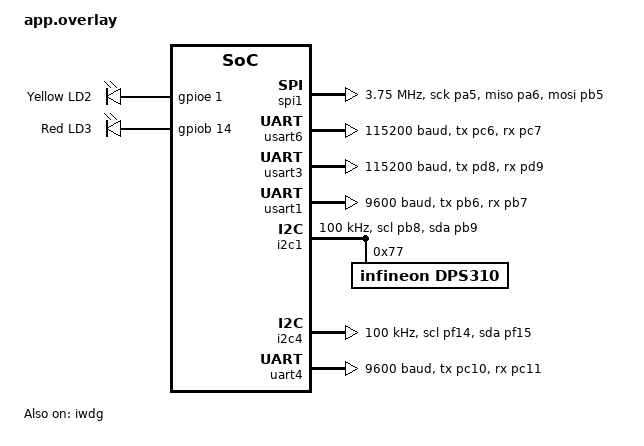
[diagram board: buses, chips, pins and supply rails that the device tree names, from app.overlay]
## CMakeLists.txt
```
# ============================================================
# ZEPHYR PROJECT — CMakeLists.txt (FIXED — ALL 5 SENSORS)
# ============================================================
# Board: NUCLEO-H755ZI-Q
# Project: AI Virtual Sensor (Zephyr + micro-ROS)
# ============================================================

cmake_minimum_required(VERSION 3.20.0)

# ---------- micro-ROS external module ----------
list(APPEND ZEPHYR_EXTRA_MODULES
    ${CMAKE_CURRENT_SOURCE_DIR}/micro_ros_zephyr_module/modules/libmicroros
)

# ---------- Find Zephyr ----------
find_package(Zephyr REQUIRED HINTS $ENV{ZEPHYR_BASE})

# ---------- Project ----------
project(stm32_ai_virtual_sensor
    VERSION 2.0.0
    LANGUAGES C CXX ASM
)

# ============================================================
# C / C++ STANDARDS
# ============================================================
set(CMAKE_C_STANDARD 11)
set(CMAKE_C_STANDARD_REQUIRED ON)
set(CMAKE_C_EXTENSIONS ON)

set(CMAKE_CXX_STANDARD 17)
set(CMAKE_CXX_STANDARD_REQUIRED ON)
set(CMAKE_CXX_EXTENSIONS OFF)

# ============================================================
# INCLUDE DIRECTORIES
# ============================================================
target_include_directories(app PRIVATE
    ${CMAKE_CURRENT_SOURCE_DIR}/src
    ${CMAKE_CURRENT_SOURCE_DIR}/src/config
    ${CMAKE_CURRENT_SOURCE_DIR}/src/hal
    ${CMAKE_CURRENT_SOURCE_DIR}/src/common
    ${CMAKE_CURRENT_SOURCE_DIR}/src/ros
    ${CMAKE_CURRENT_SOURCE_DIR}/src/verified_logic
    ${CMAKE_CURRENT_SOURCE_DIR}/src/verified_logic/ai
    ${CMAKE_CURRENT_SOURCE_DIR}/src/verified_logic/agent
    ${CMAKE_CURRENT_SOURCE_DIR}/src/verified_logic/agent/core
    ${CMAKE_CURRENT_SOURCE_DIR}/src/verified_logic/agent/states
    ${CMAKE_CURRENT_SOURCE_DIR}/src/verified_logic/agent/decisions
    ${CMAKE_CURRENT_SOURCE_DIR}/src/verified_logic/agent/actions
    ${CMAKE_CURRENT_SOURCE_DIR}/src/verified_logic/agent/safety
    ${CMAKE_CURRENT_SOURCE_DIR}/src/verified_logic/agent/health
    ${CMAKE_CURRENT_SOURCE_DIR}/src/verified_logic/agent/fdir
    ${CMAKE_CURRENT_SOURCE_DIR}/src/verified_logic/agent/fallback
    ${CMAKE_CURRENT_SOURCE_DIR}/src/verified_logic/agent/recovery
    ${CMAKE_CURRENT_SOURCE_DIR}/src/verified_logic/agent/confidence
    ${CMAKE_CURRENT_SOURCE_DIR}/src/verified_logic/agent/voting
    ${CMAKE_CURRENT_SOURCE_DIR}/src/verified_logic/agent/crosscheck
    ${CMAKE_CURRENT_SOURCE_DIR}/src/verified_logic/agent/escalation
    ${CMAKE_CURRENT_SOURCE_DIR}/src/verified_logic/agent/wcet
    ${CMAKE_CURRENT_SOURCE_DIR}/src/verified_logic/agent/trace
    ${CMAKE_CURRENT_SOURCE_DIR}/src/verified_logic/agent/interfaces
    ${CMAKE_CURRENT_SOURCE_DIR}/src/verified_logic/apsa_modules
    ${CMAKE_CURRENT_SOURCE_DIR}/src/verified_logic/apsa_bridge
    ${CMAKE_CURRENT_SOURCE_DIR}/src/verified_logic/imu
    ${CMAKE_CURRENT_SOURCE_DIR}/src/verified_logic/cm4_ipc
    ${CMAKE_CURRENT_SOURCE_DIR}/src/verified_logic/cm4_ipc/Inc
    ${CMAKE_CURRENT_SOURCE_DIR}/src/verified_logic/X-CUBE-AI/App
    ${CMAKE_CURRENT_SOURCE_DIR}/src/verified_logic/X-CUBE-AI
    ${CMAKE_CURRENT_SOURCE_DIR}/src/verified_logic/X-CUBE-AI/Middlewares/ST/AI/Inc
    ${CMAKE_CURRENT_SOURCE_DIR}/src/verified_logic/apsa_modules
    ${CMAKE_CURRENT_SOURCE_DIR}/src/verified_logic/apsa_modules/core

    # ✅ ADDED: Sensor Layer
    ${CMAKE_CURRENT_SOURCE_DIR}/src/verified_logic/sensor_layer
    ${CMAKE_CURRENT_SOURCE_DIR}/src/verified_logic/sensor_layer/modules
)

# ============================================================
# APPLICATION SOURCES
# ============================================================
target_sources(app PRIVATE
    src/main.c
    src/config/error_handler.c
    src/hal/hal_time.c
    src/hal/hal_gpio.c
    src/hal/hal_spi.c
    src/hal/hal_uart.c
    src/hal/hal_cache.c
    src/hal/hal_ipc.c
    src/hal/hal_flash.c
    src/hal/hal_reset.c
    src/hal/hal_watchdog.c
    src/hal/hal_dma.c
    src/hal/hal_power.c
    src/hal/hal_clock.c
    src/hal/hal_cpu.c
#    src/common/ring_buffer.c
    src/common/metrics.c
#    src/common/state_machine.c
#    src/common/pipeline.c
    src/common/spsc_queue.c
    src/common/logger.c
    src/common/config_loader.c
    src/ros/micro_ros_app.c
)

# ---------- AI ----------
target_sources(app PRIVATE
    src/verified_logic/ai/ai_icm_virtual.c
    src/verified_logic/X-CUBE-AI/App/ai_wrapper.c
    src/verified_logic/X-CUBE-AI/App/app_x-cube-ai.c
    src/verified_logic/X-CUBE-AI/App/network.c
    src/verified_logic/X-CUBE-AI/App/network_data.c
    src/verified_logic/X-CUBE-AI/App/network_data_params.c
)

# ---------- IMU ----------
target_sources(app PRIVATE
    src/verified_logic/imu/imu_icm42688.c
)

# ---------- IPC ----------
target_sources(app PRIVATE
    src/verified_logic/cm4_ipc/Src/cm4_ipc.c
)

# ---------- Agent Core ----------
target_sources(app PRIVATE
    src/verified_logic/agent/core/agent.c
    src/verified_logic/agent/core/agent_context.c
    src/verified_logic/agent/core/agent_init.c
    src/verified_logic/agent/core/agent_main_hook.c
)

# ---------- Agent States ----------
target_sources(app PRIVATE
    src/verified_logic/agent/states/agent_states.c
    src/verified_logic/agent/states/agent_transitions.c
)

# ---------- Agent Decisions ----------
target_sources(app PRIVATE
    src/verified_logic/agent/decisions/agent_decisions.c
    src/verified_logic/agent/decisions/agent_priority.c
    src/verified_logic/agent/ipc/agent_ipc.c
)

# ---------- Agent Actions ----------
target_sources(app PRIVATE
    src/verified_logic/agent/actions/agent_actions.c
    src/verified_logic/agent/actions/agent_actions_ai.c
)

# ---------- Agent Safety ----------
target_sources(app PRIVATE
    src/verified_logic/agent/safety/agent_safety.c
    src/verified_logic/agent/safety/agent_watchdog.c
)

# ---------- Agent Health ----------
target_sources(app PRIVATE
    src/verified_logic/agent/health/agent_health.c
    src/verified_logic/agent/health/agent_health_per_sensor.c
)

# ---------- Agent FDIR ----------
target_sources(app PRIVATE
#    src/verified_logic/agent/fdir/agent_fdir.c
#    src/verified_logic/agent/fdir/agent_fdir_detector.c
#    src/verified_logic/agent/fdir/agent_fdir_isolator.c
)

# ---------- Agent Fallback ----------
target_sources(app PRIVATE
#    src/verified_logic/agent/fallback/agent_fallback.c
)

# ---------- Agent Recovery ----------
target_sources(app PRIVATE
#    src/verified_logic/agent/recovery/agent_recovery.c
#    src/verified_logic/agent/recovery/agent_recovery_strategy.c
)

# ---------- Agent Confidence ----------
target_sources(app PRIVATE
#    src/verified_logic/agent/confidence/agent_confidence.c
)

# ---------- Agent Voting ----------
target_sources(app PRIVATE
#    src/verified_logic/agent/voting/agent_voting.c
)

# ---------- Agent Crosscheck ----------
target_sources(app PRIVATE
#    src/verified_logic/agent/crosscheck/agent_crosscheck.c
)

# ---------- Agent Escalation ----------
target_sources(app PRIVATE
#    src/verified_logic/agent/escalation/agent_escalation.c
)

# ---------- Agent WCET ----------
target_sources(app PRIVATE
#    src/verified_logic/agent/wcet/agent_wcet.c
)

# ---------- Agent Trace ----------
target_sources(app PRIVATE
    src/verified_logic/agent/trace/agent_trace.c
    src/verified_logic/agent/trace/agent_log.c
    src/verified_logic/agent/trace/agent_stats.c
)

# ---------- APSΛ Bridge ----------
target_sources(app PRIVATE
    src/verified_logic/apsa_bridge/apsa_config.c
    src/verified_logic/apsa_bridge/apsa_ekf_adapter.cpp
    src/verified_logic/apsa_bridge/apsa_ctrl_adapter.cpp
)

# ---------- APSΛ Compile Unit ----------
target_sources(app PRIVATE
    src/verified_logic/apsa_modules/apsa_compile.cpp
)

# ============================================================
# ✅ FIXED: Sensor Layer (SAL — all 5 modules)
# ============================================================
target_sources(app PRIVATE
    src/verified_logic/sensor_layer/sal_core.c
    src/verified_logic/sensor_layer/sal_diag.c
    src/verified_logic/sensor_layer/modules/mod_imu.c
    src/verified_logic/sensor_layer/modules/mod_gps.c
    src/verified_logic/sensor_layer/modules/mod_mag.c
    src/verified_logic/sensor_layer/modules/mod_baro.c
    src/verified_logic/sensor_layer/modules/mod_lora.c
)

# ============================================================
# LINK LIBRARIES
# ============================================================
target_link_libraries(app PRIVATE
    ${CMAKE_CURRENT_SOURCE_DIR}/src/verified_logic/X-CUBE-AI/Middlewares/ST/AI/Lib/NetworkRuntime1020_CM7_GCC.a
)

target_link_libraries(app PRIVATE m)

# ============================================================
# COMPILE DEFINITIONS
# ============================================================
target_compile_definitions(app PRIVATE
    CORE_CM7
    USE_HAL_DRIVER
    STM32H755xx
    USE_PWR_DIRECT_SMPS_SUPPLY
    PROJECT_NAME="stm32_ai_virtual_sensor"
    PROJECT_VERSION_MAJOR=2
    PROJECT_VERSION_MINOR=0
    PROJECT_VERSION_PATCH=0
    __STDC_WANT_LIB_EXT1__=0
)

# ============================================================
# COMPILE OPTIONS
# ============================================================
target_compile_options(app PRIVATE
    -Wall
    -Wextra
    -Wno-unused-parameter
    -Wno-missing-field-initializers
    -fno-common
)

# C++ specific
target_compile_options(app PRIVATE
    $<$<COMPILE_LANGUAGE:CXX>:
        -fno-exceptions
        -fno-rtti
        -fno-use-cxa-atexit
        -fno-threadsafe-statics
    >
)

# ============================================================
# LINKER OPTIONS
# ============================================================
target_link_options(app PRIVATE
    -Wl,--allow-multiple-definition
    -Wl,--gc-sections
    -Wl,-Map=${CMAKE_BINARY_DIR}/stm32_ai_virtual_sensor.map
)

# ============================================================
# Additional STM32 HAL sources
# ============================================================
target_sources(app PRIVATE
    ${ZEPHYR_BASE}/../modules/hal/stm32/stm32cube/stm32h7xx/drivers/src/stm32h7xx_hal_pwr_ex.c
)
```

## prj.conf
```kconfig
# ============================================================
# ZEPHYR PROJECT CONFIGURATION — SAFETY-CRITICAL
# ============================================================
# Board: NUCLEO-H755ZI-Q
# Console: USART3 (PD8/PD9) @ 115200 via ST-LINK VCP
# micro-ROS: USART6 (PC6/PC7) @ 115200 via FTDI
# ============================================================

# SYSTEM
CONFIG_MAIN_STACK_SIZE=16384
CONFIG_SYSTEM_WORKQUEUE_STACK_SIZE=4096
CONFIG_ISR_STACK_SIZE=4096
CONFIG_THREAD_STACK_INFO=y
CONFIG_THREAD_NAME=y
CONFIG_THREAD_RUNTIME_STATS=y
CONFIG_THREAD_MONITOR=y
CONFIG_INIT_STACKS=y

# SCHEDULER
CONFIG_NUM_PREEMPT_PRIORITIES=16
CONFIG_NUM_COOP_PRIORITIES=0
CONFIG_TIMESLICING=y
CONFIG_TIMESLICE_SIZE=10

# CLOCK
CONFIG_SYS_CLOCK_TICKS_PER_SEC=1000
CONFIG_CORTEX_M_SYSTICK=y
CONFIG_SYS_CLOCK_EXISTS=y

# MEMORY
CONFIG_HEAP_MEM_POOL_SIZE=65536
CONFIG_MAIN_THREAD_PRIORITY=3

# FPU
CONFIG_FPU=y
CONFIG_FPU_SHARING=y

# C++
CONFIG_CPP=y
CONFIG_STD_CPP17=y
CONFIG_REQUIRES_FULL_LIBCPP=y
CONFIG_CPP_EXCEPTIONS=n
CONFIG_CPP_RTTI=n
CONFIG_NEWLIB_LIBC=y
CONFIG_NEWLIB_LIBC_NANO=n

# CACHE
CONFIG_CACHE_MANAGEMENT=y
CONFIG_ICACHE=y
CONFIG_DCACHE=y

# LOGGING — IMMEDIATE, synchronous
CONFIG_PRINTK=y
CONFIG_LOG=y
CONFIG_LOG_MODE_DEFERRED=n
CONFIG_LOG_MODE_IMMEDIATE=y
CONFIG_LOG_DEFAULT_LEVEL=3
CONFIG_LOG_MAX_LEVEL=4
CONFIG_LOG_BACKEND_UART=y
CONFIG_UART_CONSOLE=y
CONFIG_STDOUT_CONSOLE=y
CONFIG_CONSOLE=y
CONFIG_EARLY_CONSOLE=y

# ASSERT + SAFETY
CONFIG_ASSERT=y
CONFIG_HW_STACK_PROTECTION=y
CONFIG_MPU_STACK_GUARD=y

# WATCHDOG
CONFIG_WATCHDOG=y
CONFIG_WDT_DISABLE_AT_BOOT=y

# FLASH
CONFIG_FLASH=y
CONFIG_FLASH_MAP=y
CONFIG_FLASH_PAGE_LAYOUT=y
CONFIG_NVS=y

# GPIO
CONFIG_GPIO=y
CONFIG_GPIO_INIT_PRIORITY=40

# SPI
CONFIG_SPI=y
CONFIG_SPI_INIT_PRIORITY=70

# I2C (BARO + MAG এর জন্য আবশ্যক)
CONFIG_I2C=y

# SENSOR (DPS310 ড্রাইভারের জন্য)
CONFIG_SENSOR=y
CONFIG_DPS310=y

# UART
CONFIG_SERIAL=y
CONFIG_UART_INTERRUPT_DRIVEN=y
CONFIG_RING_BUFFER=y

# RTC
CONFIG_RTC=y

# MULTITHREADING
CONFIG_MULTITHREADING=y

# POSIX
CONFIG_POSIX_API=y
CONFIG_POSIX_THREADS=y
CONFIG_POSIX_SEMAPHORES=y

# OPTIMIZATION
CONFIG_SIZE_OPTIMIZATIONS=n
CONFIG_SPEED_OPTIMIZATIONS=y
CONFIG_NO_OPTIMIZATIONS=n

# NETWORKING
CONFIG_NETWORKING=n

# ============================================================
# micro-ROS — 40k+ লাইনেও স্কেলযোগ্য
# ============================================================
CONFIG_MICROROS=y
CONFIG_MICROROS_NODES="2"
CONFIG_MICROROS_PUBLISHERS="20"
CONFIG_MICROROS_SUBSCRIBERS="10"
CONFIG_MICROROS_CLIENTS="2"
CONFIG_MICROROS_SERVERS="2"
CONFIG_MICROROS_RMW_HISTORIC="8"
CONFIG_MICROROS_XRCE_DDS_HISTORIC="4"
CONFIG_MICROROS_XRCE_DDS_MTU="512"
```

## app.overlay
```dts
/* ============================================================
 * NUCLEO-H755ZI-Q — Zephyr Devicetree Overlay
 * ============================================================
 *   - SPI1 (PA5/PA6/PB5) — IMU (ICM-42688-P) CS=PD14
 *   - USART6 (PC6/PC7)   — micro-ROS @ 115200 (FTDI)
 *   - USART3 (PD8/PD9)   — Console/log/shell @ 115200 (ST-LINK VCP)
 *   - USART1 (PB6/PB7)   — GPS @ 9600
 *   - I2C1  (PB8/PB9)    — BARO (DPS310)
 *   - I2C4  (PF14/PF15)  — MAG (QMC5883P)
 *   - UART4 (PC10/PC11)  — LoRa @ 9600
 *   - IWDG               — Watchdog
 *
 * NOTE: log backend uses zephyr,console (usart3) by default.
 *       No zephyr,log-uart node → no custom binding → log goes
 *       to usart3 only. usart6 is exclusively micro-ROS.
 * ============================================================ */

/ {
    chosen {
        zephyr,console    = &usart3;
        zephyr,shell-uart = &usart3;
    };

    aliases {
        uart-telemetry = &usart3;
        uart-ros       = &usart6;
        uart-console   = &usart3;
        uart-gps       = &usart1;
        uart-lora      = &uart4;
        i2c-baro       = &i2c1;
        i2c-compass    = &i2c4;
        spi-imu        = &spi1;
        watchdog0      = &iwdg;

        led1 = &user_yellow_led;
        led2 = &user_red_led;
    };

    leds {
        compatible = "gpio-leds";

        user_yellow_led: led_user_1 {
            gpios = <&gpioe 1 GPIO_ACTIVE_HIGH>;
            label = "Yellow LD2";
        };
        user_red_led: led_user_2 {
            gpios = <&gpiob 14 GPIO_ACTIVE_HIGH>;
            label = "Red LD3";
        };
    };
};

/* ============================================================
 * PINCTRL
 * ============================================================ */
&pinctrl {
    spi1_sck_pa5: spi1_sck_pa5 {
        pinmux = <STM32_PINMUX('A', 5, AF5)>;
        bias-pull-down;
        slew-rate = "very-high-speed";
    };

    spi1_miso_pa6: spi1_miso_pa6 {
        pinmux = <STM32_PINMUX('A', 6, AF5)>;
        bias-pull-up;
        slew-rate = "very-high-speed";
    };

    spi1_mosi_pb5: spi1_mosi_pb5 {
        pinmux = <STM32_PINMUX('B', 5, AF5)>;
        bias-pull-down;
        slew-rate = "very-high-speed";
    };

    usart6_tx_pc6: usart6_tx_pc6 {
        pinmux = <STM32_PINMUX('C', 6, AF7)>;
        bias-pull-up;
    };

    usart6_rx_pc7: usart6_rx_pc7 {
        pinmux = <STM32_PINMUX('C', 7, AF7)>;
        bias-pull-up;
    };

    usart3_tx_pd8: usart3_tx_pd8 {
        pinmux = <STM32_PINMUX('D', 8, AF7)>;
        bias-pull-up;
    };

    usart3_rx_pd9: usart3_rx_pd9 {
        pinmux = <STM32_PINMUX('D', 9, AF7)>;
        bias-pull-up;
    };

    usart1_tx_pb6: usart1_tx_pb6 {
        pinmux = <STM32_PINMUX('B', 6, AF7)>;
        bias-pull-up;
    };
    usart1_rx_pb7: usart1_rx_pb7 {
        pinmux = <STM32_PINMUX('B', 7, AF7)>;
        bias-pull-up;
    };

    i2c1_scl_pb8: i2c1_scl_pb8 {
        pinmux = <STM32_PINMUX('B', 8, AF4)>;
        bias-pull-up;
        drive-open-drain;
    };
    i2c1_sda_pb9: i2c1_sda_pb9 {
        pinmux = <STM32_PINMUX('B', 9, AF4)>;
        bias-pull-up;
        drive-open-drain;
    };

    i2c4_scl_pf14: i2c4_scl_pf14 {
        pinmux = <STM32_PINMUX('F', 14, AF4)>;
        bias-pull-up;
        drive-open-drain;
    };
    i2c4_sda_pf15: i2c4_sda_pf15 {
        pinmux = <STM32_PINMUX('F', 15, AF4)>;
        bias-pull-up;
        drive-open-drain;
    };

    uart4_tx_pc10: uart4_tx_pc10 {
        pinmux = <STM32_PINMUX('C', 10, AF8)>;
        bias-pull-up;
    };
    uart4_rx_pc11: uart4_rx_pc11 {
        pinmux = <STM32_PINMUX('C', 11, AF8)>;
        bias-pull-up;
    };
};

/* ============================================================
 * SPI1 — IMU (ICM-42688-P)
 * ============================================================ */
&spi1 {
    status = "okay";
    pinctrl-0 = <&spi1_sck_pa5 &spi1_miso_pa6 &spi1_mosi_pb5>;
    pinctrl-names = "default";
    cs-gpios = <&gpiod 14 GPIO_ACTIVE_LOW>;
    clock-frequency = <3750000>;
};

/* ============================================================
 * USART6 — micro-ROS @ 115200 (PC6/PC7, FTDI)
 * ============================================================ */
&usart6 {
    status = "okay";
    pinctrl-0 = <&usart6_tx_pc6 &usart6_rx_pc7>;
    pinctrl-names = "default";
    current-speed = <115200>;
};

/* ============================================================
 * USART3 — Console/log/shell @ 115200 (PD8/PD9, ST-LINK VCP)
 * ============================================================ */
&usart3 {
    status = "okay";
    pinctrl-0 = <&usart3_tx_pd8 &usart3_rx_pd9>;
    pinctrl-names = "default";
    current-speed = <115200>;
};

/* ============================================================
 * USART1 — GPS @ 9600 (PB6/PB7)
 * ============================================================ */
&usart1 {
    status = "okay";
    pinctrl-0 = <&usart1_tx_pb6 &usart1_rx_pb7>;
    pinctrl-names = "default";
    current-speed = <9600>;
};

/* ============================================================
 * I2C1 — BARO @ 100 kHz (PB8/PB9)
 * ============================================================ */
&i2c1 {
    status = "okay";
    pinctrl-0 = <&i2c1_scl_pb8 &i2c1_sda_pb9>;
    pinctrl-names = "default";
    clock-frequency = <I2C_BITRATE_STANDARD>;
    scl-gpios = <&gpiob 8 (GPIO_OPEN_DRAIN | GPIO_PULL_UP)>;
    sda-gpios = <&gpiob 9 (GPIO_OPEN_DRAIN | GPIO_PULL_UP)>;

    dps310: dps310@77 {
        compatible = "infineon,dps310";
        reg = <0x77>;
        status = "okay";
    };
};

/* ============================================================
 * I2C4 — MAG @ 100 kHz (PF14/PF15)
 * ============================================================ */
&i2c4 {
    status = "okay";
    pinctrl-0 = <&i2c4_scl_pf14 &i2c4_sda_pf15>;
    pinctrl-names = "default";
    clock-frequency = <I2C_BITRATE_STANDARD>;
};

/* ============================================================
 * UART4 — LoRa @ 9600 (PC10/PC11)
 * ============================================================ */
&uart4 {
    status = "okay";
    pinctrl-0 = <&uart4_tx_pc10 &uart4_rx_pc11>;
    pinctrl-names = "default";
    current-speed = <9600>;
};

/* ============================================================
 * IWDG — Watchdog
 * ============================================================ */
&iwdg {
    status = "okay";
};
```

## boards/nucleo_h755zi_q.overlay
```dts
/* ============================================================
 * NUCLEO-H755ZI-Q — Devicetree Overlay
 * ============================================================
 * Purpose:
 *   - Pin mux for SPI1 (IMU), USART3 (Telemetry), USART2 (ROS)
 *   - Fixed partitions for config, logs, calibration
 *   - Watchdog alias
 *   - LED aliases
 *   - DMA channels
 *
 * Note: Base SoC dts already defines these peripherals; here we
 *       only add board-specific pinctrl and aliases.
 * ============================================================ */

/ {
    aliases {
        /* UART */
        uart-telemetry = &usart3;
        uart-ros       = &usart2;

        /* SPI */
        spi-imu        = &spi1;

        /* Watchdog */
        watchdog0      = &iwdg;

        /* LEDs (Nucleo-H755ZI-Q) */
        led-status     = &green_led;
        led-error      = &red_led;

        /* DMA */
        dma-1          = &dma1;
    };

    /* ---------- LEDs ---------- */
    leds {
        compatible = "gpio-leds";

        green_led: led_0 {
            gpios = <&gpiob 0 GPIO_ACTIVE_HIGH>;
            label = "Green LED";
        };

        yellow_led: led_1 {
            gpios = <&gpioe 1 GPIO_ACTIVE_HIGH>;
            label = "Yellow LED";
        };

        red_led: led_2 {
            gpios = <&gpiob 14 GPIO_ACTIVE_HIGH>;
            label = "Red LED";
        };
    };

    /* ---------- IMU CS Pin ---------- */
    imu_cs: imu-cs {
        compatible = "gpio-leds";
        gpios = <&gpiod 14 GPIO_ACTIVE_LOW>;
        label = "IMU Chip Select";
    };
};

/* ============================================================
 * SPI1 — IMU (ICM-42688-P)
 * ============================================================
 * Pins:
 *   PA5 = SPI1_SCK
 *   PA6 = SPI1_MISO
 *   PB5 = SPI1_MOSI
 *   PD14 = CS (software-controlled)
 * ============================================================ */
&spi1 {
    status = "okay";
    pinctrl-0 = <&spi1_sck_pa5 &spi1_miso_pa6 &spi1_mosi_pb5>;
    pinctrl-names = "default";
    cs-gpios = <&gpiod 14 GPIO_ACTIVE_LOW>;

    clock-frequency = <3750000>;   /* 3.75 MHz */
};

&pinctrl {
    spi1_sck_pa5: spi1_sck_pa5 {
        pinmux = <STM32_PINMUX('A', 5, AF5)>;
        bias-pull-down;
        slew-rate = "very-high-speed";
    };

    spi1_miso_pa6: spi1_miso_pa6 {
        pinmux = <STM32_PINMUX('A', 6, AF5)>;
        bias-pull-down;
        slew-rate = "very-high-speed";
    };

    spi1_mosi_pb5: spi1_mosi_pb5 {
        pinmux = <STM32_PINMUX('B', 5, AF5)>;
        bias-pull-down;
        slew-rate = "very-high-speed";
    };
};

/* ============================================================
 * USART3 — Telemetry (921600 baud)
 * ============================================================
 * Pins:
 *   PD8 = USART3_TX
 *   PD9 = USART3_RX
 * ============================================================ */
&usart3 {
    status = "okay";
    current-speed = <921600>;
    pinctrl-0 = <&usart3_tx_pd8 &usart3_rx_pd9>;
    pinctrl-names = "default";
};

&pinctrl {
    usart3_tx_pd8: usart3_tx_pd8 {
        pinmux = <STM32_PINMUX('D', 8, AF7)>;
        bias-pull-up;
    };

    usart3_rx_pd9: usart3_rx_pd9 {
        pinmux = <STM32_PINMUX('D', 9, AF7)>;
        bias-pull-up;
    };
};

/* ============================================================
 * USART2 — micro-ROS Agent (115200 baud)
 * ============================================================
 * Pins:
 *   PA2 = USART2_TX
 *   PA3 = USART2_RX
 *
 * Note: NUCLEO-H755ZI-Q exposes USART2 on ST-Link VCP.
 * ============================================================ */
&usart2 {
    status = "okay";
    current-speed = <115200>;
    pinctrl-0 = <&usart2_tx_pa2 &usart2_rx_pa3>;
    pinctrl-names = "default";
};

&pinctrl {
    usart2_tx_pa2: usart2_tx_pa2 {
        pinmux = <STM32_PINMUX('A', 2, AF7)>;
        bias-pull-up;
    };

    usart2_rx_pa3: usart2_rx_pa3 {
        pinmux = <STM32_PINMUX('A', 3, AF7)>;
        bias-pull-up;
    };
};

/* ============================================================
 * DMA1 — for SPI1 and USART3
 * ============================================================ */
&dma1 {
    status = "okay";
};

/* ============================================================
 * IWDG — Independent Watchdog
 * ============================================================ */
&iwdg {
    status = "okay";
};

/* ============================================================
 * Fixed Partitions — Flash Layout
 * ============================================================
 * STM32H755ZI-Q Flash: 2 MB (0x08000000 – 0x081FFFFF)
 *
 * Layout (2 MB split):
 *   0x08000000 - 0x080FFFFF : MCU firmware (1 MB)
 *   0x08100000 - 0x0811FFFF : config storage (128 KB)
 *   0x08120000 - 0x0813FFFF : logs storage (128 KB)
 *   0x08140000 - 0x0815FFFF : calib storage (128 KB)
 * ============================================================ */
&flash0 {
    partitions {
        compatible = "fixed-partitions";
        #address-cells = <1>;
        #size-cells = <1>;

        /* Firmware — reserved by linker; not touched here */
        boot_partition: partition@0 {
            label = "mcuboot";
            reg = <0x00000000 DT_SIZE_K(1024)>;
            read-only;
        };

        /* Config storage (128 KB) */
        config_storage: partition@100000 {
            label = "config_storage";
            reg = <0x00100000 DT_SIZE_K(128)>;
        };

        /* Logs storage (128 KB) */
        logs_storage: partition@120000 {
            label = "logs_storage";
            reg = <0x00120000 DT_SIZE_K(128)>;
        };

        /* Calibration storage (128 KB) */
        calib_storage: partition@140000 {
            label = "calib_storage";
            reg = <0x00140000 DT_SIZE_K(128)>;
        };
    };
};

/* ============================================================
 * CM4 Core — Enable for dual-core operation
 * ============================================================ */
&m4 {
    status = "okay";
};

/* ============================================================
 * HSEM — Hardware Semaphores for CM7 ↔ CM4
 * ============================================================ */
&hsem {
    status = "okay";
};

/* ============================================================
 * RTC / Backup RAM — Retention section
 * ============================================================ */
&rtc {
    status = "okay";
};
```

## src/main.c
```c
/* ============================================================
 * MAIN — ZEPHYR APPLICATION ENTRY
 * ============================================================ */

#include <zephyr/kernel.h>
#include <zephyr/device.h>
#include <zephyr/drivers/uart.h>
#include <zephyr/drivers/gpio.h>
#include <zephyr/sys/printk.h>
#include <zephyr/fatal.h>

#include <math.h>
#include <string.h>

#include <stm32_ll_spi.h>
#include <stm32_ll_rcc.h>
#include <stm32_ll_gpio.h>

#include "config/project_config.h"
#include "config/system_types.h"
#include "config/validation.h"
#include "config/error_handler.h"
#include "hal/hal_time.h"
#include "hal/hal_gpio.h"
#include "hal/hal_spi.h"
#include "hal/hal_uart.h"
#include "hal/hal_cache.h"
#include "hal/hal_ipc.h"
#include "hal/hal_flash.h"
#include "hal/hal_reset.h"
#include "hal/hal_watchdog.h"
#include "hal/hal_dma.h"
#include "hal/hal_power.h"
#include "hal/hal_clock.h"
#include "hal/hal_cpu.h"
#include "common/logger.h"
#include "common/metrics.h"
#include "common/config_loader.h"
#include "common/spsc_queue.h"
#include "ai_icm_virtual.h"
#include "imu_icm42688.h"
#include "cm4_ipc.h"
#include "agent_main_hook.h"
#include "agent.h"
#include "agent_context.h"
#include "agent_ai_if.h"
#include "agent_ekf_if.h"
#include "agent_control_if.h"
#include "ros/micro_ros_app.h"
#include "verified_logic/sensor_layer/sal_core.h"
#include "verified_logic/sensor_layer/sal_types.h"

#include "verified_logic/X-CUBE-AI/App/ai_wrapper.h"

static K_THREAD_STACK_DEFINE(sensor_stack, 4096);
static K_THREAD_STACK_DEFINE(agent_stack,  32768);
static K_THREAD_STACK_DEFINE(ros_stack,    16384);
static K_THREAD_STACK_DEFINE(health_stack, 8192);
static K_THREAD_STACK_DEFINE(lora_init_stack, 4096);

static struct k_thread sensor_tcb;
static struct k_thread agent_tcb;
static struct k_thread ros_tcb;
static struct k_thread health_tcb;
static struct k_thread lora_init_tcb;

#define SENSOR_QUEUE_SIZE           16U
#define SENSOR_LOG_INTERVAL_MS      2000U
#define ROS_PUBLISH_INTERVAL_MS     50U

static void             *sensor_queue_storage[SENSOR_QUEUE_SIZE];
static spsc_queue_t      sensor_queue;
static imu_sample_t      g_latest_sample;
static volatile bool     g_latest_sample_valid = false;

static volatile int         g_lora_rc     = -999;
static volatile bool        g_lora_ready  = false;
static volatile bool        g_spi_ok      = true;

/* ---------- Complementary filter state ---------- */
static volatile float g_qw = 1.0f;
static volatile float g_qx = 0.0f;
static volatile float g_qy = 0.0f;
static volatile float g_qz = 0.0f;

static void complementary_filter_update(int16_t ax_raw, int16_t ay_raw, int16_t az_raw,
                                        int16_t gx_raw, int16_t gy_raw, int16_t gz_raw,
                                        float mag_x, float mag_y, float mag_z,
                                        float dt)
{
    const float dps_to_rads = 0.0174532925f;
    const float mg_to_ms2 = 0.004788403f;

    float wx = (float)gx_raw * dps_to_rads;
    float wy = (float)gy_raw * dps_to_rads;
    float wz = (float)gz_raw * dps_to_rads;

    float ax = (float)ax_raw * mg_to_ms2;
    float ay = (float)ay_raw * mg_to_ms2;
    float az = (float)az_raw * mg_to_ms2;

    float qw = g_qw, qx = g_qx, qy = g_qy, qz = g_qz;

    float half_dt = 0.5f * dt;
    float dqx = wx * half_dt;
    float dqy = wy * half_dt;
    float dqz = wz * half_dt;
    float dqw = 1.0f;

    float n = sqrtf(dqw*dqw + dqx*dqx + dqy*dqy + dqz*dqz);
    if (n > 1e-9f) {
        dqw /= n; dqx /= n; dqy /= n; dqz /= n;

        float new_qw = qw*dqw - qx*dqx - qy*dqy - qz*dqz;
        float new_qx = qw*dqx + qx*dqw + qy*dqz - qz*dqy;
        float new_qy = qw*dqy - qx*dqz + qy*dqw + qz*dqx;
        float new_qz = qw*dqz + qx*dqy - qy*dqx + qz*dqw;

        n = sqrtf(new_qw*new_qw + new_qx*new_qx + new_qy*new_qy + new_qz*new_qz);
        if (n > 1e-9f) {
            qw = new_qw / n; qx = new_qx / n; qy = new_qy / n; qz = new_qz / n;
        }
    }

    float ax_norm = sqrtf(ax*ax + ay*ay + az*az);
    if (ax_norm > 0.5f && ax_norm < 15.0f) {
        float r20 = 2.0f * (qx*qz - qw*qy);
        float r21 = 2.0f * (qy*qz + qw*qx);
        float r22 = 1.0f - 2.0f * (qx*qx + qy*qy);

        const float g = 9.80665f;
        float gx_est = -r20 * g;
        float gy_est = -r21 * g;
        float gz_est = -r22 * g;

        float ex = (ay * gz_est - az * gy_est);
        float ey = (az * gx_est - ax * gz_est);
        float ez = (ax * gy_est - ay * gx_est);

        float exn = sqrtf(ex*ex + ey*ey + ez*ez);
        if (exn > 1e-6f) {
            float gain = 0.02f;
            float dq_x = ex * gain * 0.5f;
            float dq_y = ey * gain * 0.5f;
            float dq_z = ez * gain * 0.5f;
            float dq_w = 1.0f;

            float dn = sqrtf(dq_w*dq_w + dq_x*dq_x + dq_y*dq_y + dq_z*dq_z);
            if (dn > 1e-9f) {
                dq_w /= dn; dq_x /= dn; dq_y /= dn; dq_z /= dn;

                float nqw = qw*dq_w - qx*dq_x - qy*dq_y - qz*dq_z;
                float nqx = qw*dq_x + qx*dq_w + qy*dq_z - qz*dq_y;
                float nqy = qw*dq_y - qx*dq_z + qy*dq_w + qz*dq_x;
                float nqz = qw*dq_z + qx*dq_y - qy*dq_x + qz*dq_w;

                n = sqrtf(nqw*nqw + nqx*nqx + nqy*nqy + nqz*nqz);
                if (n > 1e-9f) {
                    qw = nqw / n; qx = nqx / n; qy = nqy / n; qz = nqz / n;
                }
            }
        }
    }

    float mag_norm = sqrtf(mag_x*mag_x + mag_y*mag_y + mag_z*mag_z);
    if (mag_norm > 1.0f && mag_norm < 1000.0f) {
        float r00 = 1.0f - 2.0f * (qy*qy + qz*qz);
        float r01 = 2.0f * (qx*qy - qw*qz);
        float r02 = 2.0f * (qx*qz + qw*qy);
        float r10 = 2.0f * (qx*qy + qw*qz);
        float r11 = 1.0f - 2.0f * (qx*qx + qz*qz);
        float r12 = 2.0f * (qy*qz - qw*qx);

        float mx_w = r00 * mag_x + r01 * mag_y + r02 * mag_z;
        float my_w = r10 * mag_x + r11 * mag_y + r12 * mag_z;

        float heading_meas = atan2f(my_w, mx_w);
        float heading_q = atan2f(2.0f * (qw*qz + qx*qy),
                                 1.0f - 2.0f * (qy*qy + qz*qz));

        float yaw_err = heading_meas - heading_q;
        while (yaw_err > 3.14159f) yaw_err -= 6.28318f;
        while (yaw_err < -3.14159f) yaw_err += 6.28318f;

        float gain_yaw = 0.02f;
        float dq_z = yaw_err * gain_yaw * 0.5f;
        float dq_w = 1.0f;

        float dn = sqrtf(dq_w*dq_w + dq_z*dq_z);
        if (dn > 1e-9f) {
            dq_w /= dn; dq_z /= dn;

            float nqw = qw*dq_w - qz*dq_z;
            float nqx = qx*dq_w + qy*dq_z;
            float nqy = qy*dq_w - qx*dq_z;
            float nqz = qz*dq_w + qw*dq_z;

            n = sqrtf(nqw*nqw + nqx*nqx + nqy*nqy + nqz*nqz);
            if (n > 1e-9f) {
                qw = nqw / n; qx = nqx / n; qy = nqy / n; qz = nqz / n;
            }
        }
    }

    g_qw = qw; g_qx = qx; g_qy = qy; g_qz = qz;
}

void get_quaternion(float *w, float *x, float *y, float *z) {
    *w = g_qw; *x = g_qx; *y = g_qy; *z = g_qz;
}

/* ---------- SPI self-test ---------- */
static K_THREAD_STACK_DEFINE(st_stack, 2048);
static struct k_thread st_tcb;
static K_SEM_DEFINE(st_done, 0, 1);
static volatile char     g_st_test = '-';
static volatile uint32_t g_st_len  = 0U;
static volatile uint32_t g_st_iter = 0U;
static volatile int      g_st_fail = 0;

static void st_entry(void *p1, void *p2, void *p3) {
    uint8_t buf[14]; uint8_t id = 0U;
    g_st_test = 'A'; g_st_len = 2U;
    (void)hal_spi_reg_read(HAL_SPI_BUS_IMU, ICM_REG_WHO_AM_I, &id, 1000U);
    if (id != ICM_WHO_AM_I_VALUE) { g_st_fail++; }
    g_st_test = 'B';
    for (uint32_t n = 1U; n <= 14U; n++) { g_st_len = n + 1U; (void)hal_spi_burst_read(HAL_SPI_BUS_IMU, ICM_REG_ACCEL_DATA_X1, buf, n, 1000U); }
    g_st_test = 'C'; g_st_len = 15U;
    for (uint32_t i = 0U; i < 1000U; i++) { g_st_iter = i; (void)hal_spi_burst_read(HAL_SPI_BUS_IMU, ICM_REG_ACCEL_DATA_X1, buf, 14U, 1000U); k_usleep(1000); }
    g_st_test = 'Z'; k_sem_give(&st_done);
}

static bool spi_selftest(void) {
    k_sem_reset(&st_done); g_st_test = '-'; g_st_len = 0U; g_st_iter = 0U; g_st_fail = 0;
    k_thread_create(&st_tcb, st_stack, K_THREAD_STACK_SIZEOF(st_stack), st_entry, NULL, NULL, NULL, 6, 0, K_NO_WAIT);
    k_thread_name_set(&st_tcb, "spi_test");
    if (k_sem_take(&st_done, K_SECONDS(5)) != 0) {
        printk("\n[SELFTEST] HUNG at '%c', len=%u, iter=%u\n", (char)g_st_test, (unsigned)g_st_len, (unsigned)g_st_iter);
        k_thread_abort(&st_tcb); return false;
    }
    (void)k_thread_join(&st_tcb, K_SECONDS(1)); return true;
}

void k_sys_fatal_error_handler(unsigned int reason, const struct arch_esf *esf) {
    printk("\n*** [FATAL] reason=%u\n", reason); k_fatal_halt(reason);
}

static void log_all_sensors(void)
{
    sal_imu_data_t  s_imu;
    sal_mag_data_t  s_mag;
    sal_baro_data_t s_baro;
    sal_lora_data_t s_lora;

    sal_get_imu(&s_imu);
    sal_get_mag(&s_mag);
    sal_get_baro(&s_baro);
    sal_get_lora(&s_lora);

    LOG_I(LOG_TAG_MAIN,
          "[SENS] IMU(%d,%d,%d) MAG(%.1f) BARO(%.0f) LORA(t=%u,r=%u)",
          s_imu.ax, s_imu.ay, s_imu.az,
          (double)s_mag.heading_deg,
          (double)s_baro.pressure_pa,
          (unsigned)s_lora.tx_count, (unsigned)s_lora.rx_count);
}

static void lora_init_thread_entry(void *p1, void *p2, void *p3) {
    k_thread_name_set(k_current_get(), "lora_init");
    k_msleep(500);
    int sal_rc = (int)sal_init_all();

    sal_health_t lora_h = sal_get_health("lora");
    g_lora_ready = (lora_h == SAL_HEALTH_OK);

    LOG_I(LOG_TAG_MAIN, "[LORA-INIT] rc=%d ready=%d",
          sal_rc, (int)g_lora_ready);
}

static void sensor_thread_entry(void *p1, void *p2, void *p3) {
    k_thread_name_set(k_current_get(), "sensor");
    k_msleep(500);
    uint32_t next_wake_us = hal_time_us_32();
    uint32_t last_sensor_log_ms = 0U;
    uint32_t last_lora_tx_ms = 0U;

    while (1) {
        imu_sample_t imu;
        agent_status_t ast = icm_read_sample((agent_sensor_sample_t *)&imu);

        if (ast == AGENT_OK) {
            /* NOTE: Do NOT call agent_health_set_imu() here.
             * agent_thread calls it every step via imu_health().
             * Calling from two threads corrupts imu_fail_accum_us.
             * The ICM driver updates g_icm_health internally. */

            ai_model_feed_sample((const agent_sensor_sample_t *)&imu);
            (void)spsc_push(&sensor_queue, &imu);
            g_latest_sample = imu; g_latest_sample_valid = true;

            {
                sal_mag_data_t mag;
                float mx = 0.0f, my = 0.0f, mz = 0.0f;
                if (sal_get_mag(&mag) == SAL_OK && mag.health == SAL_HEALTH_OK) {
                    mx = mag.mag_ut[0];
                    my = mag.mag_ut[1];
                    mz = mag.mag_ut[2];
                }
                complementary_filter_update(imu.ax, imu.ay, imu.az,
                                            imu.gx, imu.gy, imu.gz,
                                            mx, my, mz,
                                            0.005f);
            }

            (void)sal_read_all();

            uint32_t now_ms_sensors = hal_time_ms_32();
            if ((now_ms_sensors - last_sensor_log_ms) >= SENSOR_LOG_INTERVAL_MS) {
                last_sensor_log_ms = now_ms_sensors;
                log_all_sensors();
            }

            uint32_t now_ms_lora = hal_time_ms_32();
            if (g_lora_ready && (now_ms_lora - last_lora_tx_ms) >= 5000U) {
                last_lora_tx_ms = now_ms_lora;
                extern sal_status_t sal_lora_send_raw(const uint8_t *data, uint16_t len);
                extern volatile bool g_lora_just_received;

                if (g_lora_just_received) {
                    g_lora_just_received = false;
                    g_lora_rc = (int)sal_lora_send_raw((const uint8_t *)"CONFIRM", 7);
                    LOG_I(LOG_TAG_MAIN, "[LORA] CONFIRM rc=%d", g_lora_rc);
                } else {
                    g_lora_rc = (int)sal_lora_send_raw((const uint8_t *)"hello", 5);
                }
            }
        }
        /* else: do NOT call agent_health_set_imu() here either. */

        next_wake_us += CFG_SENSOR_THREAD_PERIOD_US;
        uint32_t now_us = hal_time_us_32();
        if ((int32_t)(next_wake_us - now_us) > 0) k_usleep(next_wake_us - now_us);
        else next_wake_us = now_us;
    }
}

static void agent_thread_entry(void *p1, void *p2, void *p3) {
    k_thread_name_set(k_current_get(), "agent");
    k_msleep(1000);
    uint32_t next_wake_us = hal_time_us_32();
    while (1) {
        void *imu_ptr = NULL;
        while (spsc_pop(&sensor_queue, &imu_ptr) == PROJ_OK) { (void)imu_ptr; }
        (void)agent_main_step();
        next_wake_us += CFG_AGENT_THREAD_PERIOD_US;
        uint32_t now_us = hal_time_us_32();
        if ((int32_t)(next_wake_us - now_us) > 0) k_usleep(next_wake_us - now_us);
        else next_wake_us = now_us;
    }
}

static void ros_thread_entry(void *p1, void *p2, void *p3) {
    k_thread_name_set(k_current_get(), "ros");
    k_msleep(1500);

    if (micro_ros_app_init() != PROJ_OK) {
        LOG_E(LOG_TAG_ROS, "[ROS] init FAILED");
        return;
    }

    uint32_t last_pub_ms = hal_time_ms_32();

    while (1) {
        (void)micro_ros_app_spin(5U);

        uint32_t now = hal_time_ms_32();
        if ((now - last_pub_ms) >= ROS_PUBLISH_INTERVAL_MS) {
            last_pub_ms = now;

            agent_ekf_state_t ekf;
            if (ekf_get_state(&ekf) == AGENT_OK) {
                (void)micro_ros_publish_pose(&ekf);
            }
            if (g_latest_sample_valid) {
                (void)micro_ros_publish_imu((const agent_sensor_sample_t *)&g_latest_sample);
            }
            (void)micro_ros_publish_health();
        }
    }
}

static void health_thread_entry(void *p1, void *p2, void *p3) {
    k_thread_name_set(k_current_get(), "health");
    k_msleep(500);
    while (1) {
        k_msleep(1000);
        (void)hal_watchdog_kick();
    }
}

int main(void) {
    (void)hal_power_init(); (void)hal_clock_init(); (void)hal_cpu_init();
    (void)logger_init(LOG_LEVEL_INFO); (void)error_handler_init(); (void)config_loader_init();
    (void)hal_reset_init(); (void)hal_cache_init(); (void)hal_gpio_init(); (void)hal_spi_init();
    (void)hal_uart_init(); (void)hal_dma_init(); (void)hal_flash_init();
    (void)metrics_init(); (void)spsc_init(&sensor_queue, sensor_queue_storage, SENSOR_QUEUE_SIZE);
    (void)cm4_ipc_init();

    (void)icm_init();

    if (g_spi_ok) g_spi_ok = spi_selftest();

    k_thread_create(&lora_init_tcb, lora_init_stack, K_THREAD_STACK_SIZEOF(lora_init_stack),
                    lora_init_thread_entry, NULL, NULL, NULL, 5, 0, K_NO_WAIT);

    k_msleep(200);

    agent_status_t agent_ret = agent_main_init();
    if (agent_ret != AGENT_OK) {
        LOG_E(LOG_TAG_MAIN, "[BOOT] AGENT INIT FAILED ret=%d", (int)agent_ret);
    }

    if (g_spi_ok) k_thread_create(&sensor_tcb, sensor_stack, K_THREAD_STACK_SIZEOF(sensor_stack),
                                  sensor_thread_entry, NULL, NULL, NULL, CFG_SENSOR_THREAD_PRIO, 0, K_NO_WAIT);
    k_msleep(200);

    k_thread_create(&agent_tcb, agent_stack, K_THREAD_STACK_SIZEOF(agent_stack),
                    agent_thread_entry, NULL, NULL, NULL, CFG_AGENT_THREAD_PRIO, 0, K_NO_WAIT);
    k_msleep(200);

    k_thread_create(&ros_tcb, ros_stack, K_THREAD_STACK_SIZEOF(ros_stack),
                    ros_thread_entry, NULL, NULL, NULL, CFG_ROS_THREAD_PRIO, 0, K_NO_WAIT);
    k_msleep(200);

    k_thread_create(&health_tcb, health_stack, K_THREAD_STACK_SIZEOF(health_stack),
                    health_thread_entry, NULL, NULL, NULL, 4, 0, K_NO_WAIT);
    k_msleep(200);

    (void)hal_watchdog_init(CFG_WDT_TIMEOUT_US / 1000U);

    LOG_I(LOG_TAG_MAIN, "[BOOT] === ALL SYSTEMS GO ===");
    return 0;
}
```
